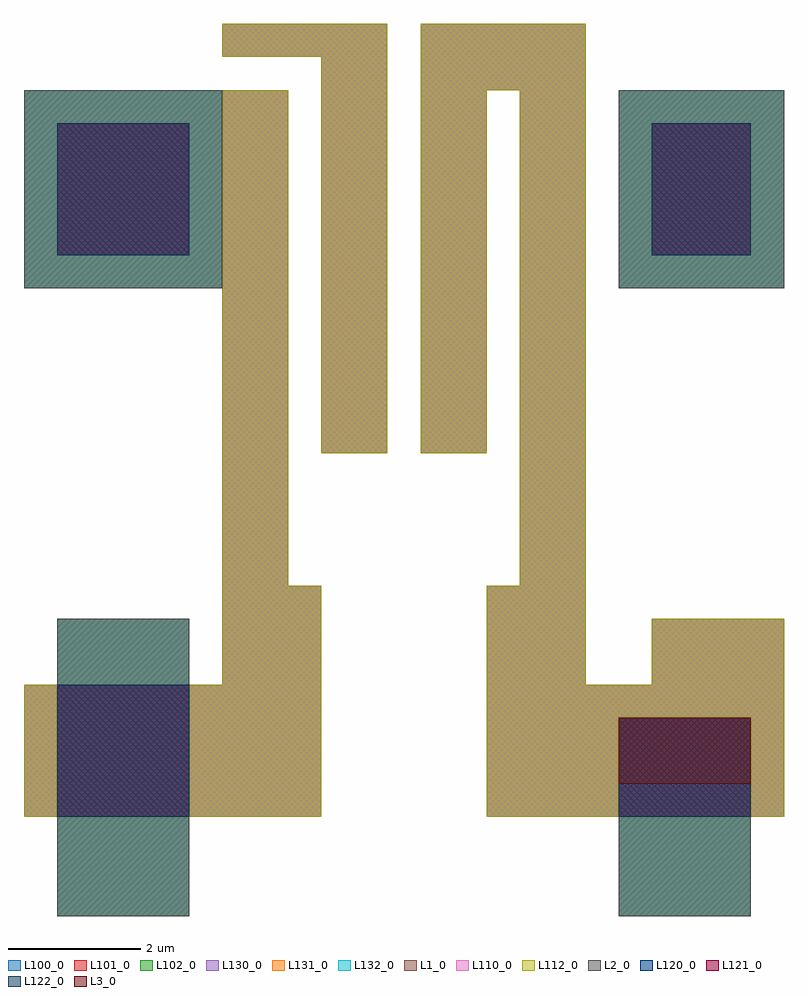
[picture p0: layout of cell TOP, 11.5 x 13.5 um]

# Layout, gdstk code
from math import pi, radians
import gdstk
lib = gdstk.Library(unit=1e-6, precision=1e-09)
def R(c, l, rs):  # rectangles x0, y0, x1, y1
    for r in rs: c.add(gdstk.rectangle(r[:2], r[2:], *l))
def P(c, l, *ps):  # polygons
    for p in ps: c.add(gdstk.Polygon(p, *l))
L1_0 = (1, 0)
L2_0 = (2, 0)
L3_0 = (3, 0)
L100_0 = (100, 0)
L101_0 = (101, 0)
L102_0 = (102, 0)
L110_0 = (110, 0)
L112_0 = (112, 0)
L120_0 = (120, 0)
L121_0 = (121, 0)
L122_0 = (122, 0)
L130_0 = (130, 0)
L131_0 = (131, 0)
L132_0 = (132, 0)

part = lib.new_cell('PART')
R(part, L1_0, [(0,0,1,5.5)])

child = lib.new_cell('CHILD')
R(child, L1_0, [(-0.5,-5.5,0,-2), (1,-5.5,4,-3.5), (2,3,3.5,5)])
R(child, L2_0, [(1.5,-7,3.5,-4), (1.5,2.5,4,5.5)])
child.add(gdstk.Reference(part, (0,0)))
child.add(gdstk.Reference(part, (0,-5.5)))
child.add(gdstk.Reference(part, (-1.5,0)))

top = lib.new_cell('TOP')
R(top, L1_0, [(2,-3.5,4,-2.5), (-6,3,-5,5), (-3,5.5,-2,6.5), (-1.5,5.5,1,6.5), (-4.5,6,-3,6.5)])
R(top, L2_0, [(-7,-4,-5,-2.5), (-5.5,2.5,-4.5,5.5)])
R(top, L3_0, [(1.5,-5,3.5,-4)])
R(top, L100_0, [(-7,-7,-5,-4), (1.5,-7,3.5,-4), (1.5,-5,3.5,-4), (-7,-4,-5,-2.5), (-7.5,2.5,-5,5.5), (-5.5,2.5,-4.5,5.5), (1.5,2.5,4,5.5), (-7,3,-5,5), (2,3,3.5,5)])
P(top, L100_0, [(-3,0),(-3,6),(-4.5,6),(-4.5,6.5),(-2,6.5),(-2,0)],
  [(-0.5,-5.5),(-0.5,-2),(0,-2),(0,5.5),(-0.5,5.5),(-0.5,0),(-1.5,0),(-1.5,6.5),(1,6.5),(1,-3.5),(2,-3.5),(2,-2.5),(4,-2.5),(4,-5.5)],
  [(-7.5,-5.5),(-7.5,-3.5),(-4.5,-3.5),(-4.5,5.5),(-3.5,5.5),(-3.5,-2),(-3,-2),(-3,-5.5)])
R(top, L101_0, [(-7,-7,-5,-4), (1.5,-7,3.5,-4), (1.5,-5,3.5,-4), (-7,-4,-5,-2.5), (-7.5,2.5,-5,5.5), (-5.5,2.5,-4.5,5.5), (1.5,2.5,4,5.5), (-7,3,-5,5), (2,3,3.5,5)])
P(top, L101_0, [(-3,0),(-3,6),(-4.5,6),(-4.5,6.5),(-2,6.5),(-2,0)],
  [(-0.5,-5.5),(-0.5,-2),(0,-2),(0,5.5),(-0.5,5.5),(-0.5,0),(-1.5,0),(-1.5,6.5),(1,6.5),(1,-3.5),(2,-3.5),(2,-2.5),(4,-2.5),(4,-5.5)],
  [(-7.5,-5.5),(-7.5,-3.5),(-4.5,-3.5),(-4.5,5.5),(-3.5,5.5),(-3.5,-2),(-3,-2),(-3,-5.5)])
R(top, L102_0, [(-7,-7,-5,-4), (1.5,-7,3.5,-4), (1.5,-5,3.5,-4), (-7,-4,-5,-2.5), (-7.5,2.5,-5,5.5), (-5.5,2.5,-4.5,5.5), (1.5,2.5,4,5.5), (-7,3,-5,5), (2,3,3.5,5)])
P(top, L102_0, [(-3,0),(-3,6),(-4.5,6),(-4.5,6.5),(-2,6.5),(-2,0)],
  [(-0.5,-5.5),(-0.5,-2),(0,-2),(0,5.5),(-0.5,5.5),(-0.5,0),(-1.5,0),(-1.5,6.5),(1,6.5),(1,-3.5),(2,-3.5),(2,-2.5),(4,-2.5),(4,-5.5)],
  [(-7.5,-5.5),(-7.5,-3.5),(-4.5,-3.5),(-4.5,5.5),(-3.5,5.5),(-3.5,-2),(-3,-2),(-3,-5.5)])
R(top, L110_0, [(-7.5,-5.5,-7,-3.5)])
P(top, L110_0, [(-0.5,-5.5),(-0.5,-2),(0,-2),(0,5.5),(-0.5,5.5),(-0.5,0),(-1.5,0),(-1.5,6.5),(1,6.5),(1,-3.5),(2,-3.5),(2,-2.5),(4,-2.5),(4,-5.5),(3.5,-5.5),(3.5,-4),(1.5,-4),(1.5,-5.5)],
  [(-5,-5.5),(-5,-3.5),(-4.5,-3.5),(-4.5,5.5),(-3.5,5.5),(-3.5,-2),(-3,-2),(-3,-5.5)],
  [(-3,0),(-3,6),(-4.5,6),(-4.5,6.5),(-2,6.5),(-2,0)])
R(top, L112_0, [(-7.5,-5.5,-7,-3.5)])
P(top, L112_0, [(-0.5,-5.5),(-0.5,-2),(0,-2),(0,5.5),(-0.5,5.5),(-0.5,0),(-1.5,0),(-1.5,6.5),(1,6.5),(1,-3.5),(2,-3.5),(2,-2.5),(4,-2.5),(4,-5.5),(3.5,-5.5),(3.5,-4),(1.5,-4),(1.5,-5.5)],
  [(-5,-5.5),(-5,-3.5),(-4.5,-3.5),(-4.5,5.5),(-3.5,5.5),(-3.5,-2),(-3,-2),(-3,-5.5)],
  [(-3,0),(-3,6),(-4.5,6),(-4.5,6.5),(-2,6.5),(-2,0)])
R(top, L120_0, [(-7,-5.5,-5,-3.5), (1.5,-5.5,3.5,-4), (-7,3,-5,5), (-5.5,3,-5,5), (2,3,3.5,5)])
R(top, L121_0, [(-7,-5.5,-5,-3.5), (1.5,-5.5,3.5,-4), (-7,3,-5,5), (-5.5,3,-5,5), (2,3,3.5,5)])
R(top, L122_0, [(-7,-5.5,-5,-3.5), (1.5,-5.5,3.5,-4), (-7,3,-5,5), (-5.5,3,-5,5), (2,3,3.5,5)])
R(top, L130_0, [(-7,-7,-5,-4), (1.5,-7,3.5,-4), (-7,-4,-5,-2.5), (-7.5,2.5,-5,5.5), (-5.5,2.5,-4.5,5.5), (1.5,2.5,4,5.5), (-7,3,-5,5), (2,3,3.5,5)])
P(top, L130_0, [(-3,0),(-3,6),(-4.5,6),(-4.5,6.5),(-2,6.5),(-2,0)],
  [(-0.5,-5.5),(-0.5,-2),(0,-2),(0,5.5),(-0.5,5.5),(-0.5,0),(-1.5,0),(-1.5,6.5),(1,6.5),(1,-3.5),(2,-3.5),(2,-2.5),(4,-2.5),(4,-5.5)],
  [(-7.5,-5.5),(-7.5,-3.5),(-4.5,-3.5),(-4.5,5.5),(-3.5,5.5),(-3.5,-2),(-3,-2),(-3,-5.5)])
R(top, L131_0, [(-7,-7,-5,-4), (1.5,-7,3.5,-4), (-7,-4,-5,-2.5), (-7.5,2.5,-5,5.5), (-5.5,2.5,-4.5,5.5), (1.5,2.5,4,5.5), (-7,3,-5,5), (2,3,3.5,5)])
P(top, L131_0, [(-3,0),(-3,6),(-4.5,6),(-4.5,6.5),(-2,6.5),(-2,0)],
  [(-0.5,-5.5),(-0.5,-2),(0,-2),(0,5.5),(-0.5,5.5),(-0.5,0),(-1.5,0),(-1.5,6.5),(1,6.5),(1,-3.5),(2,-3.5),(2,-2.5),(4,-2.5),(4,-5.5)],
  [(-7.5,-5.5),(-7.5,-3.5),(-4.5,-3.5),(-4.5,5.5),(-3.5,5.5),(-3.5,-2),(-3,-2),(-3,-5.5)])
R(top, L132_0, [(-7,-7,-5,-4), (1.5,-7,3.5,-4), (-7,-4,-5,-2.5), (-7.5,2.5,-5,5.5), (-5.5,2.5,-4.5,5.5), (1.5,2.5,4,5.5), (-7,3,-5,5), (2,3,3.5,5)])
P(top, L132_0, [(-3,0),(-3,6),(-4.5,6),(-4.5,6.5),(-2,6.5),(-2,0)],
  [(-0.5,-5.5),(-0.5,-2),(0,-2),(0,5.5),(-0.5,5.5),(-0.5,0),(-1.5,0),(-1.5,6.5),(1,6.5),(1,-3.5),(2,-3.5),(2,-2.5),(4,-2.5),(4,-5.5)],
  [(-7.5,-5.5),(-7.5,-3.5),(-4.5,-3.5),(-4.5,5.5),(-3.5,5.5),(-3.5,-2),(-3,-2),(-3,-5.5)])
top.add(gdstk.Reference(child, (0,0)))
top.add(gdstk.Reference(child, (-3.5,0), rotation=pi, x_reflection=True))

lib.write_gds('TOP.gds')
